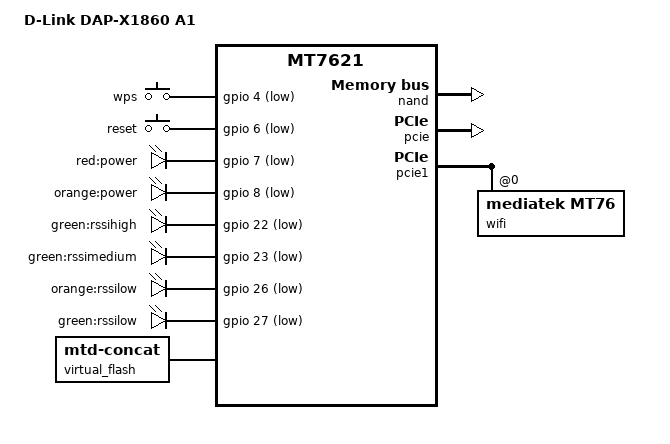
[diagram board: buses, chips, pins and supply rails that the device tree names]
// SPDX-License-Identifier: GPL-2.0-or-later OR MIT

#include "mt7621.dtsi"

#include <dt-bindings/gpio/gpio.h>
#include <dt-bindings/input/input.h>

/ {
	compatible = "dlink,dap-x1860-a1", "mediatek,mt7621-soc";
	model = "D-Link DAP-X1860 A1";

	chosen {
		bootargs = "console=ttyS0,115200";
	};

	aliases {
		label-mac-device = &gmac0;
		led-boot = &led_power_orange;
		led-failsafe = &led_power_red;
		led-running = &led_power_orange;
		led-upgrade = &led_power_red;
	};

	keys {
		compatible = "gpio-keys";

		wps {
			label = "wps";
			gpios = <&gpio 4 GPIO_ACTIVE_LOW>;
			linux,code = <KEY_WPS_BUTTON>;
		};

		reset {
			label = "reset";
			gpios = <&gpio 6 GPIO_ACTIVE_LOW>;
			linux,code = <KEY_RESTART>;
		};
	};

	leds {
		compatible = "gpio-leds";

		led_power_red: power_red {
			label = "red:power";
			gpios = <&gpio 7 GPIO_ACTIVE_LOW>;
		};

		led_power_orange: power_orange {
			label = "orange:power";
			gpios = <&gpio 8 GPIO_ACTIVE_LOW>;
			default-state = "on";
		};

		rssihigh {
			label = "green:rssihigh";
			gpios = <&gpio 22 GPIO_ACTIVE_LOW>;
		};

		rssimedium {
			label = "green:rssimedium";
			gpios = <&gpio 23 GPIO_ACTIVE_LOW>;
		};

		rssilow_orange {
			label = "orange:rssilow";
			gpios = <&gpio 26 GPIO_ACTIVE_LOW>;
		};

		rssilow_green {
			label = "green:rssilow";
			gpios = <&gpio 27 GPIO_ACTIVE_LOW>;
		};
	};

	virtual_flash {
		compatible = "mtd-concat";

		devices = <&fwconcat0 &fwconcat1>;

		partitions {
			compatible = "fixed-partitions";
			#address-cells = <1>;
			#size-cells = <1>;

			partition@0 {
				label = "ubi";
				reg = <0x0 0x0>;
			};
		};
	};
};

&nand {
	status = "okay";

	mediatek,nmbm;

	partitions {
		compatible = "fixed-partitions";
		#address-cells = <1>;
		#size-cells = <1>;

		partition@0 {
			label = "bootloader";
			reg = <0x0 0x80000>;
			read-only;
		};

		partition@80000 {
			label = "config";
			reg = <0x80000 0x80000>;
			read-only;
		};

		factory: partition@100000 {
			label = "factory";
			reg = <0x100000 0x80000>;
			read-only;

			compatible = "nvmem-cells";
			#address-cells = <1>;
			#size-cells = <1>;

			macaddr_factory_4: macaddr@4 {
				reg = <0x4 0x6>;
			};
		};

		partition@180000 {
			label = "kernel";
			reg = <0x180000 0x0800000>;
		};

		fwconcat0: partition@980000 {
			label = "fwconcat0";
			reg = <0x980000 0x2c00000>;
		};

		partition@3580000 {
			label = "manufacture";
			reg = <0x3580000 0x400000>;
			read-only;
		};

		partition@3980000 {
			label = "storage";
			reg = <0x3980000 0x680000>;
			read-only;
		};

		fwconcat1: partition@4000000 {
			label = "fwconcat1";
			reg = <0x4000000 0x3800000>;
		};
	};
};

&pcie {
	status = "okay";
};

&pcie1 {
	wifi@0,0 {
		compatible = "mediatek,mt76";
		reg = <0x0000 0 0 0 0>;
		mediatek,mtd-eeprom = <&factory 0x0>;
		mediatek,disable-radar-background;
	};
};

&ethernet {
	pinctrl-0 = <&mdio_pins>, <&rgmii1_pins>;
};

&gmac0 {
	nvmem-cells = <&macaddr_factory_4>;
	nvmem-cell-names = "mac-address";
};

&switch0 {
	gpio-controller;
	#gpio-cells = <2>;

	ports {
		port@0 {
			status = "okay";
			label = "lan";
		};
	};
};

&state_default {
	gpio {
		groups = "uart2";
		function = "gpio";
	};
};
